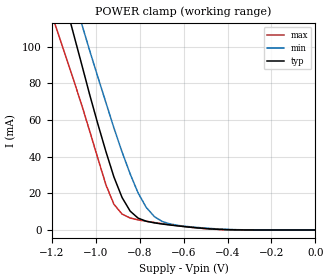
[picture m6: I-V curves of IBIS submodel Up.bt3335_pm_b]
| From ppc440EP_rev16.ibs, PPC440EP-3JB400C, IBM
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[Submodel]  Up.bt3335_pm_b
Submodel_type   Dynamic_clamp
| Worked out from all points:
|   POWER clamp passes 1 mA (typ) near -0.52 V on its own axis
[POWER Clamp]   | Note: Vtable = Vcc - Vout
| Voltage   I(typ)   I(min)   I(max)
-3.6V     1.222A     1.096A     1.041A
-1.173V   140.3mA    156.1mA    108.1mA
-1.1V     106.8mA    126.9mA    81.75mA
-1.063V   90.17mA    112.3mA    68.08mA
-1.027V   73.8mA     97.87mA    53.94mA
-953mV    42.7mA     69.45mA    24.56mA
-917mV    28.97mA    55.73mA    14.07mA
-843mV    10.29mA    30.6mA     6.54mA
-770mV    4.778mA    12.35mA    4.742mA
-733mV    3.883mA    7.306mA    4.065mA
-513mV    903uA      1.13mA     827uA
0V        0A         0A         0A
